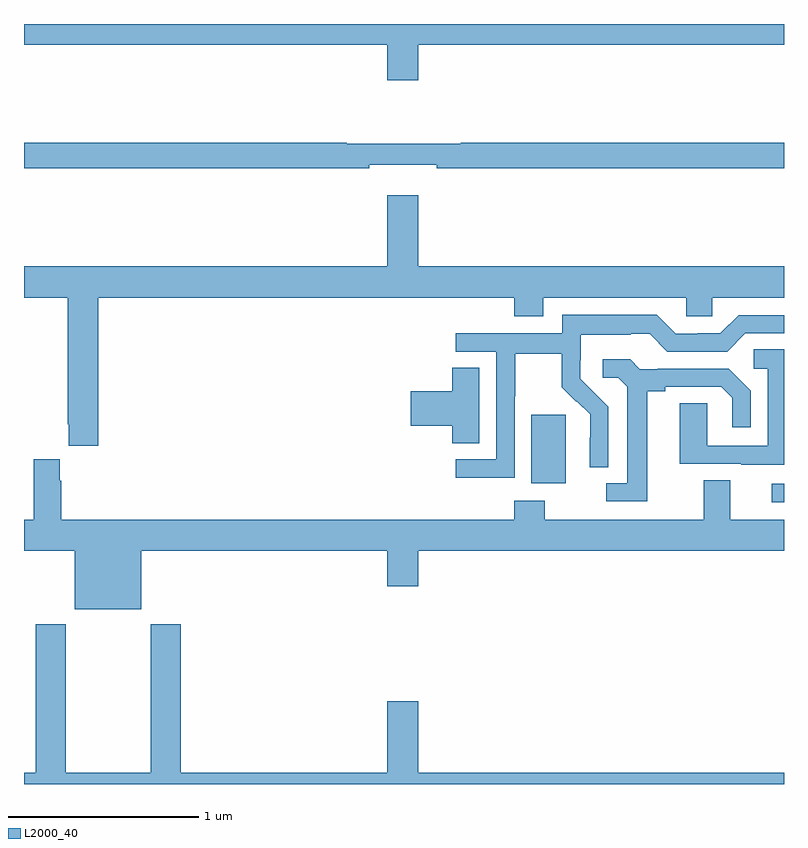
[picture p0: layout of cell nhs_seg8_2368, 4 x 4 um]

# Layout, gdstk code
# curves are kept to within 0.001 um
import gdstk
lib = gdstk.Library(unit=1e-6, precision=1e-09)
def R(c, l, rs):  # rectangles x0, y0, x1, y1
    for r in rs: c.add(gdstk.rectangle(r[:2], r[2:], *l))
def P(c, l, *ps):  # polygons
    for p in ps: c.add(gdstk.Polygon(p, *l))
L2000_40 = (2000, 40)

nhs_seg8_2368 = lib.new_cell('nhs_seg8_2368')
R(nhs_seg8_2368, L2000_40, [(262.935,1155.384,263,1155.48), (261.671,1155.482,261.85,1155.843)])
P(nhs_seg8_2368, L2000_40, [(261.076,1157.792),(263,1157.792),(263,1157.9),(259,1157.9),(259,1157.792),(260.912,1157.792),(260.912,1157.604),(261.076,1157.604)],
  [(260.816,1157.159),(261.172,1157.159),(261.172,1157.14),(263,1157.14),(263,1157.276),(261.299,1157.276),(261.299,1157.269),(260.699,1157.269),(260.699,1157.276),(259,1157.276),(259,1157.14),(260.816,1157.14)],
  [(259.391,1156.46),(261.581,1156.46),(261.581,1156.361),(261.733,1156.361),(261.733,1156.46),(262.485,1156.46),(262.485,1156.362),(262.623,1156.362),(262.623,1156.46),(263,1156.46),(263,1156.624),(261.076,1156.624),(261.076,1156.999),(260.912,1156.999),(260.912,1156.624),(259,1156.624),(259,1156.46),(259.231,1156.46),(259.231,1155.793),(259.235,1155.793),(259.235,1155.681),(259.391,1155.681)],
  [(261.582,1155.94),(261.585,1155.94),(261.585,1156.164),(261.829,1156.164),(261.829,1155.989),(261.906,1155.912),(261.909,1155.915),(261.98,1155.845),(261.98,1155.722),(261.978,1155.722),(261.978,1155.568),(262.074,1155.568),(262.074,1155.886),(261.928,1156.034),(261.928,1156.131),(261.93,1156.131),(261.93,1156.265),(262.193,1156.265),(262.193,1156.269),(262.293,1156.269),(262.386,1156.176),(262.701,1156.176),(262.797,1156.272),(263,1156.272),(263,1156.368),(262.761,1156.368),(262.665,1156.272),(262.547,1156.272),(262.547,1156.269),(262.431,1156.269),(262.331,1156.369),(261.834,1156.369),(261.834,1156.272),(261.273,1156.272),(261.273,1156.176),(261.486,1156.176),(261.486,1155.609),(261.273,1155.609),(261.273,1155.511),(261.582,1155.511)],
  [(263,1156.187),(262.842,1156.187),(262.842,1156.086),(262.914,1156.086),(262.914,1155.681),(262.596,1155.681),(262.596,1155.905),(262.451,1155.905),(262.451,1155.585),(262.775,1155.585),(262.775,1155.581),(263,1155.581)],
  [(262.279,1155.968),(262.375,1155.968),(262.375,1155.99),(262.67,1155.99),(262.727,1155.933),(262.727,1155.777),(262.824,1155.777),(262.824,1155.97),(262.708,1156.086),(262.336,1156.086),(262.336,1156.083),(262.242,1156.083),(262.19,1156.135),(262.047,1156.135),(262.047,1156.038),(262.128,1156.038),(262.175,1155.991),(262.175,1155.483),(262.065,1155.483),(262.065,1155.387),(262.279,1155.387)],
  [(261.397,1156.091),(261.254,1156.091),(261.254,1155.968),(261.036,1155.968),(261.036,1155.785),(261.254,1155.785),(261.254,1155.694),(261.397,1155.694)],
  [(259.618,1155.128),(260.912,1155.128),(260.912,1154.94),(261.076,1154.94),(261.076,1155.128),(263,1155.128),(263,1155.292),(262.717,1155.292),(262.717,1155.5),(262.577,1155.5),(262.577,1155.292),(261.741,1155.292),(261.741,1155.391),(261.581,1155.391),(261.581,1155.292),(259.196,1155.292),(259.196,1155.497),(259.189,1155.497),(259.189,1155.61),(259.052,1155.61),(259.052,1155.292),(259,1155.292),(259,1155.128),(259.268,1155.128),(259.268,1154.819),(259.618,1154.819)],
  [(263,1153.96),(261.076,1153.96),(261.076,1154.335),(260.912,1154.335),(260.912,1153.96),(259.826,1153.96),(259.826,1154.74),(259.666,1154.74),(259.666,1153.96),(259.221,1153.96),(259.221,1154.74),(259.061,1154.74),(259.061,1153.96),(259,1153.96),(259,1153.9),(263,1153.9)])

lib.write_gds('nhs_seg8_2368.gds')
